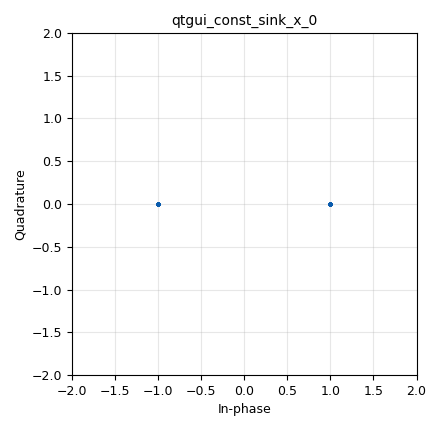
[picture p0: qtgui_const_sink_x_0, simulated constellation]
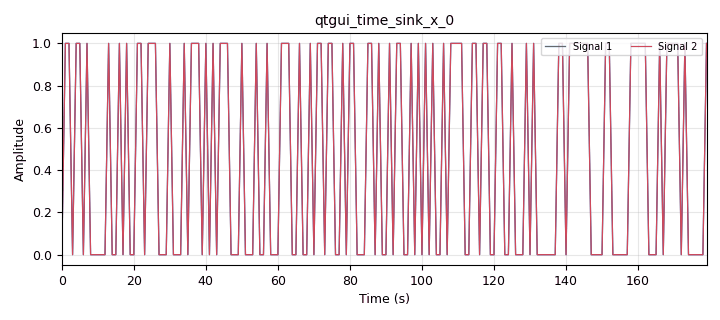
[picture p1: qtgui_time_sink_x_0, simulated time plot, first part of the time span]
options:
  parameters:
    author: Josh Morman
    generate_options: qt_gui
    id: constellation_encode_decode
    output_language: python
    title: Constellation Encoder and Decoder
  states: {}

blocks:
- name: constel
  id: variable_constellation
  parameters:
    const_points: '[1,-1]'
    precision: '8'
    rot_sym: '2'
    sym_map: '[0,1]'
    type: bpsk
  states: {}
- name: data
  id: variable
  parameters:
    value: '[random.randrange(mod_order) for i in range(data_size)]'
  states: {}
- name: data_size
  id: variable
  parameters:
    value: '1000'
  states: {}
- name: mod_order
  id: variable
  parameters:
    value: len(constel.points())
  states: {}
- name: samp_rate
  id: variable
  parameters:
    value: '32000'
  states: {}
- name: blocks_char_to_float_0
  id: blocks_char_to_float
  parameters:
    scale: '1'
  states: {}
- name: blocks_char_to_float_0_0
  id: blocks_char_to_float
  parameters:
    scale: '1'
  states: {}
- name: blocks_throttle2_0
  id: blocks_throttle2
  parameters:
    samples_per_second: samp_rate
    type: byte
  states: {}
- name: blocks_vector_source_x_0_0
  id: blocks_vector_source_x
  parameters:
    repeat: 'True'
    type: byte
    vector: data
  states: {}
- name: digital_constellation_decoder_cb_0
  id: digital_constellation_decoder_cb
  parameters:
    constellation: constel
  states: {}
- name: digital_constellation_encoder_bc_0
  id: digital_constellation_encoder_bc
  parameters:
    constellation: constel
  states: {}
- name: import_0_0
  id: import
  parameters:
    imports: import random
  states: {}
- name: qtgui_const_sink_x_0
  id: qtgui_const_sink_x
  parameters:
    size: '1024'
    type: complex
  states: {}
- name: qtgui_time_sink_x_0
  id: qtgui_time_sink_x
  parameters:
    autoscale: 'True'
    nconnections: '2'
    size: '1024'
    srate: '1'
    type: float
  states: {}

connections:
- [blocks_char_to_float_0, '0', qtgui_time_sink_x_0, '0']
- [blocks_char_to_float_0_0, '0', qtgui_time_sink_x_0, '1']
- [blocks_throttle2_0, '0', blocks_char_to_float_0, '0']
- [blocks_throttle2_0, '0', digital_constellation_encoder_bc_0, '0']
- [blocks_vector_source_x_0_0, '0', blocks_throttle2_0, '0']
- [digital_constellation_decoder_cb_0, '0', blocks_char_to_float_0_0, '0']
- [digital_constellation_encoder_bc_0, '0', digital_constellation_decoder_cb_0, '0']
- [digital_constellation_encoder_bc_0, '0', qtgui_const_sink_x_0, '0']

metadata:
  file_format: 1
  grc_version: 3.10.10.0
